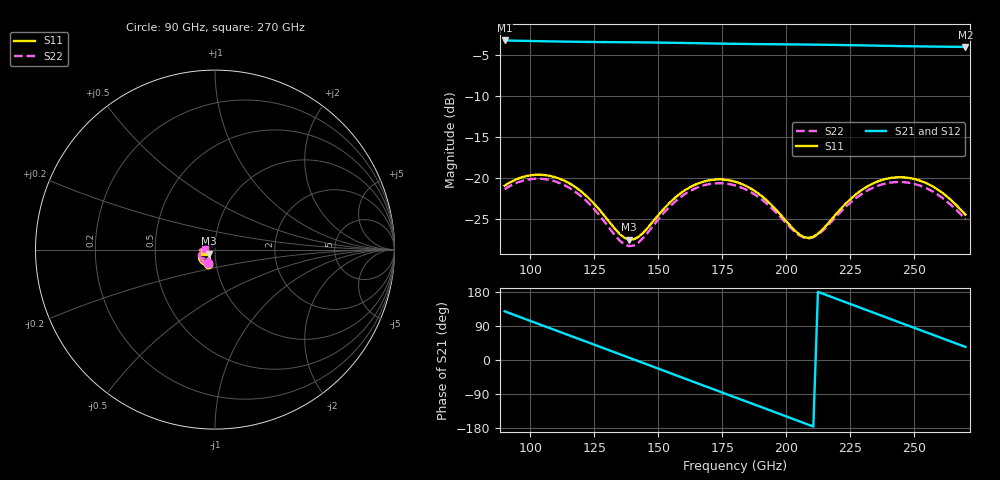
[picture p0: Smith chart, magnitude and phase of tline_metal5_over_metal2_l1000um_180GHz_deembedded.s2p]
! Created with skrf 2.0.1 (http://scikit-rf.org).
# GHz S DB R 50.0
!freq dBS11 angS11 dBS21 angS21 dBS12 angS12 dBS22 angS22
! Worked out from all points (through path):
!   101 points, 90 GHz to 270 GHz, reference 50 ohm
!   highest |S21| = -3.22 dB at 90 GHz (marker M1); lowest = -4.0 dB at 270 GHz (marker M2)
!   group delay of S21, straight-line fit = 7.01 ps
!   lowest |S11| = -27.5 dB at 138.6 GHz (marker M3), VSWR 1.09, Z = 46.5 - j2.19 ohm
!   |S11| at or under -10 dB: start of sweep to end of sweep
!   |S22| runs from -28.3 to -20.0 dB; largest |S21 - S12| = 7.6e-14
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90  -20.90 -114.9  -3.22 128.5  -3.22 128.5  -21.33 -119.1
97.2  -19.84 -126.5  -3.27 110.4  -3.27 110.4  -20.29 -131.2
104.4  -19.58 -139.1  -3.31 92.2  -3.31 92.2  -20.06 -144.4
111.6  -20.07 -151.2  -3.35 74.1  -3.35 74.1  -20.59 -157.0
120.6  -21.78 -163.4  -3.39 51.5  -3.39 51.5  -22.38 -169.8
129.6  -24.80 -166.2  -3.42 28.9  -3.42 28.9  -25.53 -173.0
138.6  -27.47 -146.4  -3.44 6.2  -3.44 6.2  -28.27 -152.0
144  -26.68 -129.4  -3.46 -7.5  -3.46 -7.5  -27.31 -134.7
151.2  -24.06 -121.0  -3.48 -25.7  -3.48 -25.7  -24.56 -127.2
165.6  -20.62 -133.4  -3.56 -62.1  -3.56 -62.1  -21.09 -141.1
172.8  -20.14 -143.9  -3.59 -80.3  -3.59 -80.3  -20.61 -152.1
180  -20.41 -154.4  -3.63 -98.4  -3.63 -98.4  -20.87 -163.1
187.2  -21.44 -163.5  -3.66 -116.5  -3.66 -116.5  -21.88 -172.5
196.2  -23.88 -168.7  -3.68 -139.2  -3.68 -139.2  -24.22 -178.0
205.2  -26.85 -156.5  -3.71 -161.9  -3.71 -161.9  -26.97 -167.0
210.6  -27.12 -139.3  -3.73 -175.6  -3.73 -175.6  -27.19 -151.8
217.8  -24.98 -124.3  -3.76 166.2  -3.76 166.2  -25.25 -138.4
225  -22.56 -123.5  -3.79 147.9  -3.79 147.9  -22.98 -138.1
234  -20.62 -132.0  -3.85 125.2  -3.85 125.2  -21.14 -147.0
241.2  -19.94 -141.7  -3.89 107.0  -3.89 107.0  -20.51 -156.9
255.6  -20.73 -161.0  -3.96 70.8  -3.96 70.8  -21.34 -176.9
270  -24.43 -167.7  -4.01 34.6  -4.01 34.6  -24.98 175.8
